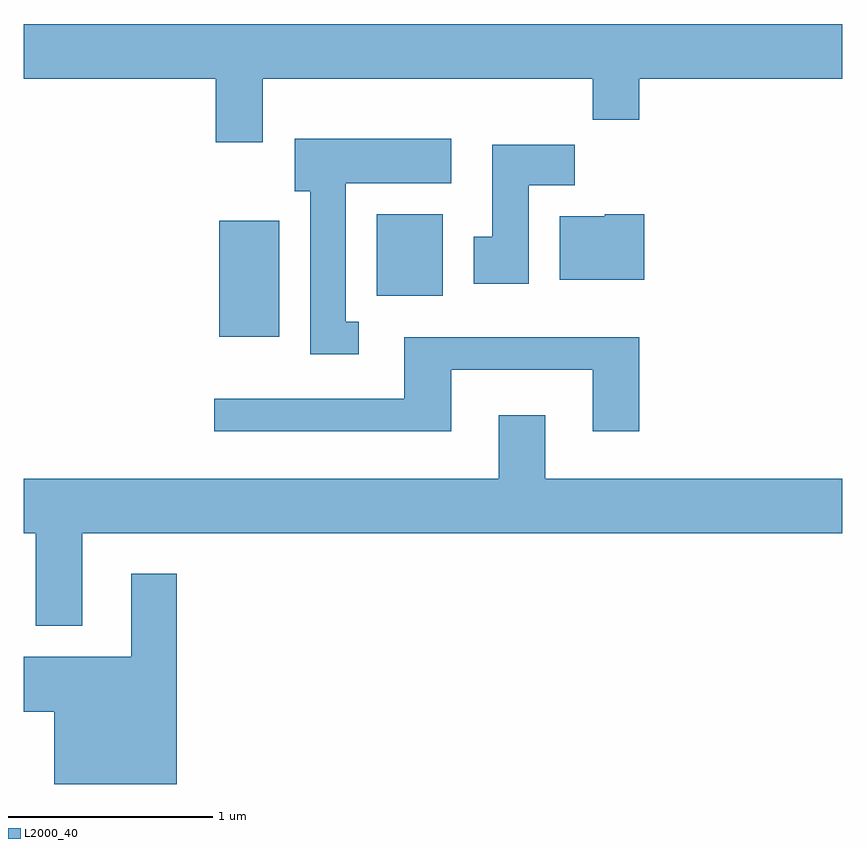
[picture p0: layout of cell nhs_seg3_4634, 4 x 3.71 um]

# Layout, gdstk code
import gdstk
lib = gdstk.Library(unit=1e-6, precision=1e-09)
def R(c, l, rs):  # rectangles x0, y0, x1, y1
    for r in rs: c.add(gdstk.rectangle(r[:2], r[2:], *l))
def P(c, l, *ps):  # polygons
    for p in ps: c.add(gdstk.Polygon(p, *l))
L2000_40 = (2000, 40)

nhs_seg3_4634 = lib.new_cell('nhs_seg3_4634')
R(nhs_seg3_4634, L2000_40, [(322.566,1138.076,322.859,1138.644), (323.336,1138.276,323.659,1138.674)])
P(nhs_seg3_4634, L2000_40, [(322.779,1139.336),(324.391,1139.336),(324.391,1139.136),(324.619,1139.136),(324.619,1139.336),(325.611,1139.336),(325.611,1139.604),(321.611,1139.604),(321.611,1139.336),(322.551,1139.336),(322.551,1139.026),(322.779,1139.026)],
  [(323.248,1138.149),(323.184,1138.149),(323.184,1138.826),(323.699,1138.826),(323.699,1139.044),(322.936,1139.044),(322.936,1138.786),(323.011,1138.786),(323.011,1137.991),(323.248,1137.991)],
  [(324.079,1138.816),(324.304,1138.816),(324.304,1139.014),(323.901,1139.014),(323.901,1138.564),(323.811,1138.564),(323.811,1138.336),(324.079,1138.336)],
  [(324.644,1138.674),(324.45,1138.674),(324.45,1138.664),(324.231,1138.664),(324.231,1138.356),(324.644,1138.356)],
  [(323.699,1137.916),(324.391,1137.916),(324.391,1137.616),(324.619,1137.616),(324.619,1138.074),(323.471,1138.074),(323.471,1137.774),(322.543,1137.774),(322.543,1137.616),(323.699,1137.616)],
  [(321.899,1137.116),(325.611,1137.116),(325.611,1137.384),(324.159,1137.384),(324.159,1137.694),(323.931,1137.694),(323.931,1137.384),(321.611,1137.384),(321.611,1137.116),(321.671,1137.116),(321.671,1136.666),(321.899,1136.666)],
  [(322.359,1136.919),(322.136,1136.919),(322.136,1136.514),(321.611,1136.514),(321.611,1136.246),(321.761,1136.246),(321.761,1135.892),(322.359,1135.892)])

lib.write_gds('nhs_seg3_4634.gds')
